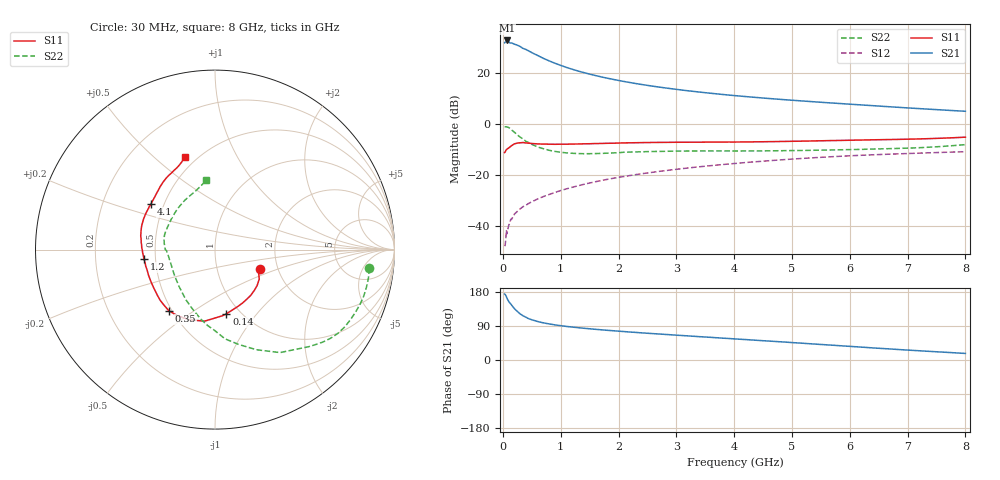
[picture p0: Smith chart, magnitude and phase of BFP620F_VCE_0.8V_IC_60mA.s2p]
! Infineon Technologies  Discrete & RF Semiconductors
! BFP620F
! VCE =  0.8 V,  IC =  60 mA
! Common Emitter S-Parameters:  Dec 2014
# GHz  S  MA  R  50
!  f  S11  S21  S12  S22
! GHz  MAG  ANG  MAG  ANG  MAG  ANG  MAG  ANG
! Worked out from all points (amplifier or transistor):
!   95 points, 30 MHz to 8 GHz, reference 50 ohm
!   highest |S21| = 32.6 dB at 70 MHz (marker M1)
!   |S21| within 3 dB of that: start of sweep to 341.6 MHz
!   unconditionally stable (mu >= 1): 1.542 GHz to end of sweep
!   at 300 MHz: K = 0.55, MSG = 31.8 dB, |S12| = -33.3 dB
!   at 3.3 GHz: K = 1.04, MAG = 13.7 dB, |S12| = -17.1 dB
!   at 8 GHz: K = 1.06, MAG = 6.4 dB, |S12| = -11.0 dB
!   S11 on the Smith chart (normalised r, x): 30 MHz: 1.62, -0.37; 140 MHz: 0.86, -0.71; 350 MHz: 0.48, -0.40; 1.2 GHz: 0.43, -0.05; 4.1 GHz: 0.42, +0.27; 8 GHz: 0.43, +0.64
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0.03  0.2721 -22.9  38.25 174.2  0.004 94.2  0.8659 -6.9
0.05  0.2963 -33.7  41.16 170.4  0.0054 82.4  0.8695 -14.0
0.07  0.3154 -45.9  42.59 163.5  0.007 92.0  0.8639 -20.4
0.09  0.3283 -57.4  41.29 157.4  0.0089 70.1  0.85 -27.3
0.12  0.3477 -72.5  38.3 150.7  0.0112 72.9  0.8109 -37.6
0.14  0.3633 -80.0  37.99 147.1  0.0135 69.7  0.7711 -43.3
0.2  0.403 -98.3  36 135.4  0.017 65.8  0.6788 -57.7
0.25  0.4165 -110.3  34.41 128.2  0.0192 64.4  0.6039 -67.5
0.3  0.423 -119.2  32.4 121.6  0.0216 62.9  0.5451 -75.9
0.35  0.4272 -126.9  29.72 116.6  0.0238 62.4  0.5004 -83.6
0.4  0.4196 -133.1  28.33 112.7  0.0254 62.5  0.449 -90.5
0.5  0.4092 -141.9  24.64 106.2  0.0296 63.0  0.3945 -101.8
0.7  0.3986 -154.4  19.02 98.0  0.0374 64.1  0.3236 -119.9
0.9  0.395 -163.0  15.26 92.7  0.045 65.0  0.2867 -134.4
1.2  0.3994 -172.5  11.63 86.9  0.0569 65.1  0.2634 -151.6
1.4  0.4034 -177.4  10.01 83.8  0.065 64.9  0.2584 -160.9
2  0.4173 171.0  7.023 76.1  0.089 62.7  0.2705 -178.9
2.7  0.4301 161.1  5.211 68.6  0.1164 58.6  0.2864 171.3
4.1  0.4383 144.6  3.473 54.8  0.1698 49.3  0.2922 156.5
5.4  0.4606 132.7  2.675 42.0  0.2161 39.0  0.3021 138.5
6.7  0.4895 120.5  2.14 29.1  0.2533 28.0  0.3247 119.4
8  0.5444 107.9  1.749 17.3  0.2823 17.6  0.3891 97.2
